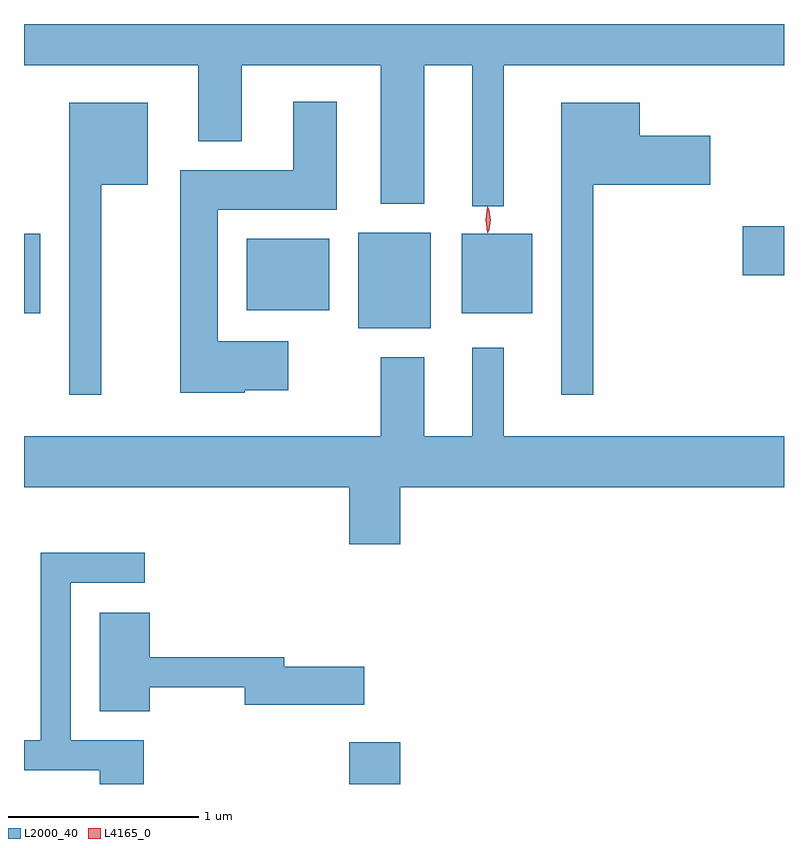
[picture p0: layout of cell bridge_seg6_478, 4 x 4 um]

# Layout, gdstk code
import gdstk
lib = gdstk.Library(unit=1e-6, precision=1e-09)
def R(c, l, rs):  # rectangles x0, y0, x1, y1
    for r in rs: c.add(gdstk.rectangle(r[:2], r[2:], *l))
def P(c, l, *ps):  # polygons
    for p in ps: c.add(gdstk.Polygon(p, *l))
L2000_40 = (2000, 40)
L4165_0 = (4165, 0)

bridge_seg6_478 = lib.new_cell('bridge_seg6_478')
R(bridge_seg6_478, L2000_40, [(834.456,1537.373,834.724,1537.594), (834.501,1539.771,834.884,1540.274), (832.743,1539.851,832.829,1540.269), (835.046,1539.851,835.419,1540.269), (833.916,1539.866,834.349,1540.244), (836.526,1540.051,836.743,1540.309)])
P(bridge_seg6_478, L2000_40, [(835.269,1541.156),(836.743,1541.156),(836.743,1541.373),(832.743,1541.373),(832.743,1541.156),(833.661,1541.156),(833.661,1540.756),(833.889,1540.756),(833.889,1541.156),(834.621,1541.156),(834.621,1540.426),(834.849,1540.426),(834.849,1541.156),(835.101,1541.156),(835.101,1540.413),(835.269,1540.413)],
  [(833.905,1539.446),(834.134,1539.446),(834.134,1539.704),(833.764,1539.704),(833.764,1540.396),(834.389,1540.396),(834.389,1540.964),(834.161,1540.964),(834.161,1540.604),(833.566,1540.604),(833.566,1539.431),(833.905,1539.431)],
  [(835.739,1540.526),(836.354,1540.526),(836.354,1540.784),(835.984,1540.784),(835.984,1540.959),(835.571,1540.959),(835.571,1539.423),(835.739,1539.423)],
  [(833.149,1540.526),(833.394,1540.526),(833.394,1540.959),(832.981,1540.959),(832.981,1539.423),(833.149,1539.423)],
  [(834.724,1538.936),(836.743,1538.936),(836.743,1539.204),(835.269,1539.204),(835.269,1539.668),(835.101,1539.668),(835.101,1539.204),(834.849,1539.204),(834.849,1539.619),(834.621,1539.619),(834.621,1539.204),(832.743,1539.204),(832.743,1538.936),(834.456,1538.936),(834.456,1538.636),(834.724,1538.636)],
  [(833.374,1537.604),(832.989,1537.604),(832.989,1538.431),(833.378,1538.431),(833.378,1538.589),(832.831,1538.589),(832.831,1537.604),(832.743,1537.604),(832.743,1537.446),(833.141,1537.446),(833.141,1537.373),(833.374,1537.373)],
  [(833.404,1537.881),(833.906,1537.881),(833.906,1537.791),(834.534,1537.791),(834.534,1537.989),(834.114,1537.989),(834.114,1538.039),(833.404,1538.039),(833.404,1538.274),(833.141,1538.274),(833.141,1537.756),(833.404,1537.756)])
P(bridge_seg6_478, L4165_0, [(835.189,1540.278),(835.179,1540.342),(835.188,1540.407),(835.189,1540.407),(835.189,1540.407),(835.199,1540.343),(835.19,1540.278),(835.19,1540.278)],
  [(835.182,1540.274),(835.173,1540.342),(835.182,1540.41),(835.183,1540.41),(835.183,1540.41),(835.193,1540.342),(835.183,1540.274),(835.183,1540.274)])

lib.write_gds('bridge_seg6_478.gds')
